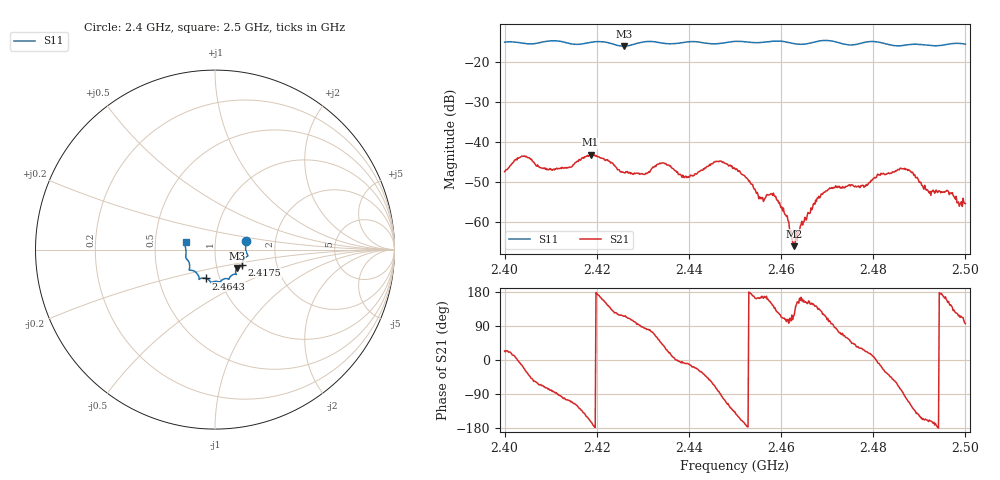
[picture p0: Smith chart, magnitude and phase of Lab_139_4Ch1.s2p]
# Hz S RI R 50
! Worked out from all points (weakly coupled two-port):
!   601 points, 2.4 GHz to 2.5 GHz, reference 50 ohm
!   highest |S21| = -43.09 dB at 2.4187 GHz (marker M1); lowest = -66.0 dB at 2.4628 GHz (marker M2)
!   lowest |S11| = -15.9 dB at 2.4258 GHz (marker M3), VSWR 1.38, Z = 62.3 - j13.2 ohm
!   |S11| at or under -10 dB: start of sweep to end of sweep
!   S12 and S22 are empty: the file has one direction only
!   S11 on the Smith chart (normalised r, x): 2.4 GHz: 1.41, +0.14; 2.4175 GHz: 1.34, -0.23; 2.4643 GHz: 0.86, -0.29; 2.5 GHz: 0.72, +0.06
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2.4e9  0.1728 0.0487  0.00394 0.00174  0 0  0 0
2.403833e9  0.1726 0.0272  0.00649 -0.00174  0 0  0 0
2.41e9  0.183 -0.033  0.000807 -0.00451  0 0  0 0
2.416667e9  0.1528 -0.0742  -0.00423 -0.00462  0 0  0 0
2.4175e9  0.1518 -0.0837  -0.00534 -0.00389  0 0  0 0
2.418667e9  0.1524 -0.0931  -0.00668 -0.00211  0 0  0 0
2.425833e9  0.1218 -0.1032  -0.00181 0.00379  0 0  0 0
2.4305e9  0.1183 -0.1376  0.000437 0.00398  0 0  0 0
2.433333e9  0.1133 -0.1373  0.00313 0.00434  0 0  0 0
2.439333e9  0.0796 -0.1609  0.00373 -0.000613  0 0  0 0
2.446e9  0.0477 -0.1643  0.00144 -0.00559  0 0  0 0
2.45e9  0.029 -0.181  -0.0034 -0.00317  0 0  0 0
2.455667e9  -0.0037 -0.1774  -0.00189 0.000542  0 0  0 0
2.458833e9  -0.0215 -0.1836  -0.00141 0.00157  0 0  0 0
2.462833e9  -0.0352 -0.1682  -0.000236 0.000445  0 0  0 0
2.464333e9  -0.0497 -0.1609  -0.000906 0.000234  0 0  0 0
2.466667e9  -0.0759 -0.1593  -0.00125 0.00072  0 0  0 0
2.4705e9  -0.0881 -0.165  -0.000632 0.00261  0 0  0 0
2.483333e9  -0.1409 -0.0902  0.00327 -0.00258  0 0  0 0
2.487333e9  -0.157 -0.0537  -0.00115 -0.00446  0 0  0 0
2.492e9  -0.1615 -0.0255  -0.0023 -0.000723  0 0  0 0
2.5e9  -0.1638 0.0431  -0.000181 0.00171  0 0  0 0
